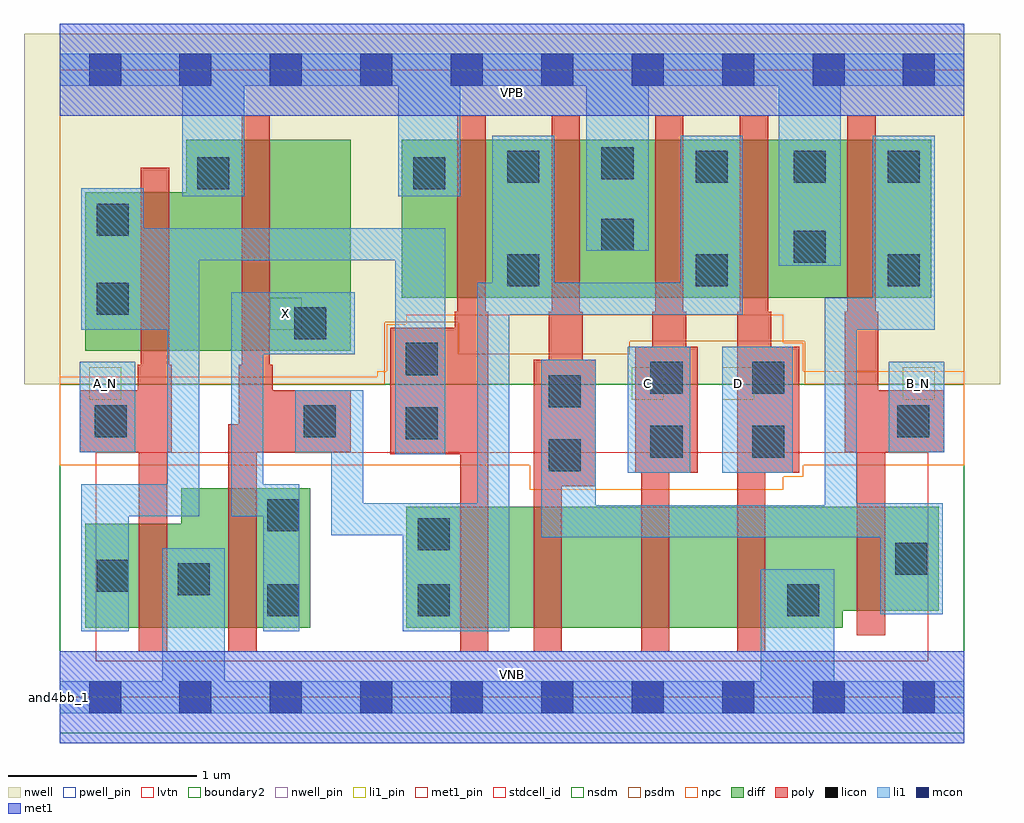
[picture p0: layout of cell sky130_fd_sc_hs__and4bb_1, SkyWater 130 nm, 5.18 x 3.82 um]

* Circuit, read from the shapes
.subckt sky130_fd_sc_hs__and4bb_1 A_N B_N C D VGND VNB VPB VPWR X
XM1 VGND A_N n1 VNB sky130_fd_pr__nfet_01v8_lvt w=0.55 l=0.15
XM2 X n2 VGND VNB sky130_fd_pr__nfet_01v8_lvt w=0.74 l=0.15
XM3 n3 n1 n2 VNB sky130_fd_pr__nfet_01v8_lvt w=0.64 l=0.15
XM4 n4 n5 n3 VNB sky130_fd_pr__nfet_01v8_lvt w=0.64 l=0.15
XM5 n6 C n4 VNB sky130_fd_pr__nfet_01v8_lvt w=0.64 l=0.15
XM6 VGND D n6 VNB sky130_fd_pr__nfet_01v8_lvt w=0.64 l=0.15
XM7 n5 B_N VGND VNB sky130_fd_pr__nfet_01v8_lvt w=0.55 l=0.15
XM8 VPWR A_N n1 VPB sky130_fd_pr__pfet_01v8 w=0.84 l=0.15
XM9 X n2 VPWR VPB sky130_fd_pr__pfet_01v8 w=1.12 l=0.15
XM10 n2 n1 VPWR VPB sky130_fd_pr__pfet_01v8 w=0.84 l=0.15
XM11 VPWR n5 n2 VPB sky130_fd_pr__pfet_01v8 w=0.84 l=0.15
XM12 n2 C VPWR VPB sky130_fd_pr__pfet_01v8 w=0.84 l=0.15
XM13 VPWR D n2 VPB sky130_fd_pr__pfet_01v8 w=0.84 l=0.15
XM14 n5 B_N VPWR VPB sky130_fd_pr__pfet_01v8 w=0.84 l=0.15
.ends

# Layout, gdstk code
import gdstk
lib = gdstk.Library(unit=1e-6, precision=1e-09)
def R(c, l, rs):  # rectangles x0, y0, x1, y1
    for r in rs: c.add(gdstk.rectangle(r[:2], r[2:], *l))
def A(c, l, x, y, w, h, nx, ny, dx, dy):  # array of equal rectangles
    R(c, l, [(x+i*dx, y+j*dy, x+i*dx+w, y+j*dy+h) for i in range(nx) for j in range(ny)])
def P(c, l, *ps):  # polygons
    for p in ps: c.add(gdstk.Polygon(p, *l))
nwell_pin = (64, 16)
nwell = (64, 20)
diff = (65, 20)
poly = (66, 20)
licon = (66, 44)
li1_pin = (67, 16)
li1 = (67, 20)
mcon = (67, 44)
met1_pin = (68, 16)
met1 = (68, 20)
stdcell_id = (81, 4)
nsdm = (93, 44)
psdm = (94, 20)
npc = (95, 20)
pwell_pin = (122, 16)
lvtn = (125, 44)
boundary2 = (236, 0)

sky130_fd_sc_hs__and4bb_ = lib.new_cell('sky130_fd_sc_hs__and4bb_1')
R(sky130_fd_sc_hs__and4bb_, nwell_pin, [(0,3.085,4.8,3.33)])
R(sky130_fd_sc_hs__and4bb_, nwell, [(-0.19,1.66,4.99,3.52)])
R(sky130_fd_sc_hs__and4bb_, diff, [(1.815,2.12,4.625,2.96)])
P(sky130_fd_sc_hs__and4bb_, diff, [(1.33,1.11),(0.645,1.11),(0.645,0.92),(0.135,0.92),(0.135,0.37),(1.33,0.37)],
  [(1.545,2.96),(0.67,2.96),(0.67,2.68),(0.135,2.68),(0.135,1.84),(1.545,1.84)],
  [(4.665,1.01),(1.84,1.01),(1.84,0.37),(4.155,0.37),(4.155,0.46),(4.665,0.46)])
P(sky130_fd_sc_hs__and4bb_, poly, [(4.695,1.63),(4.345,1.63),(4.345,2.045),(4.33,2.045),(4.33,3.09),(4.18,3.09),(4.18,2.045),(4.165,2.045),(4.165,1.3),(4.23,1.3),(4.23,0.33),(4.38,0.33),(4.38,1.3),(4.695,1.3)],
  [(3.925,1.86),(3.775,1.86),(3.775,2.045),(3.76,2.045),(3.76,3.09),(3.61,3.09),(3.61,2.045),(3.595,2.045),(3.595,0.24),(3.745,0.24),(3.745,1.19),(3.925,1.19)],
  [(3.385,1.86),(3.325,1.86),(3.325,2.045),(3.31,2.045),(3.31,3.09),(3.16,3.09),(3.16,2.045),(3.145,2.045),(3.145,1.86),(3.055,1.86),(3.055,1.19),(3.085,1.19),(3.085,0.24),(3.235,0.24),(3.235,1.19),(3.385,1.19)],
  [(2.845,1.79),(2.775,1.79),(2.775,2.045),(2.76,2.045),(2.76,3.09),(2.61,3.09),(2.61,2.045),(2.595,2.045),(2.595,1.79),(2.515,1.79),(2.515,0.24),(2.665,0.24),(2.665,1.12),(2.845,1.12)],
  [(2.275,2.045),(2.26,2.045),(2.26,3.09),(2.11,3.09),(2.11,2.045),(2.095,2.045),(2.095,1.96),(1.755,1.96),(1.755,1.29),(2.125,1.29),(2.125,0.24),(2.275,0.24)],
  [(1.545,1.63),(1.13,1.63),(1.13,1.765),(1.115,1.765),(1.115,3.09),(0.965,3.09),(0.965,1.765),(0.95,1.765),(0.95,1.45),(0.895,1.45),(0.895,0.24),(1.045,0.24),(1.045,1.3),(1.545,1.3)],
  [(0.595,1.765),(0.58,1.765),(0.58,2.81),(0.43,2.81),(0.43,1.765),(0.415,1.765),(0.415,1.63),(0.105,1.63),(0.105,1.3),(0.42,1.3),(0.42,0.24),(0.57,0.24),(0.57,1.3),(0.595,1.3)])
R(sky130_fd_sc_hs__and4bb_, licon, [(1.1,0.43,1.27,0.6), (1.9,0.43,2.07,0.6), (3.86,0.43,4.03,0.6), (0.625,0.54,0.795,0.71), (0.195,0.56,0.365,0.73), (4.435,0.65,4.605,0.82), (1.9,0.78,2.07,0.95), (1.1,0.88,1.27,1.05), (2.595,1.2,2.765,1.37), (3.135,1.27,3.305,1.44), (3.675,1.27,3.845,1.44), (1.835,1.37,2.005,1.54), (0.185,1.38,0.355,1.55), (1.295,1.38,1.465,1.55), (4.445,1.38,4.615,1.55), (2.595,1.54,2.765,1.71), (3.135,1.61,3.305,1.78), (3.675,1.61,3.845,1.78), (1.835,1.71,2.005,1.88), (1.245,1.9,1.415,2.07), (0.195,2.03,0.365,2.2), (2.375,2.18,2.545,2.35), (3.375,2.18,3.545,2.35), (4.395,2.18,4.565,2.35), (3.895,2.305,4.065,2.475), (2.875,2.37,3.045,2.54), (0.195,2.45,0.365,2.62), (0.73,2.695,0.9,2.865), (1.875,2.695,2.045,2.865), (2.375,2.73,2.545,2.9), (3.375,2.73,3.545,2.9), (3.895,2.73,4.065,2.9), (4.395,2.73,4.565,2.9), (2.875,2.75,3.045,2.92)])
R(sky130_fd_sc_hs__and4bb_, li1_pin, [(0.155,1.58,0.325,1.75), (3.035,1.58,3.205,1.75), (3.515,1.58,3.685,1.75), (4.475,1.58,4.645,1.75), (1.115,1.95,1.285,2.12)])
R(sky130_fd_sc_hs__and4bb_, li1, [(3.015,1.19,3.345,1.86), (3.515,1.19,3.89,1.86), (0.105,1.3,0.4,1.78), (4.4,1.3,4.695,1.78)])
P(sky130_fd_sc_hs__and4bb_, li1, [(0,-0.085),(0,0.085),(0.545,0.085),(0.545,0.79),(0.875,0.79),(0.875,0.085),(3.72,0.085),(3.72,0.68),(4.11,0.68),(4.11,0.085),(4.8,0.085),(4.8,-0.085)],
  [(0,3.245),(0,3.415),(4.8,3.415),(4.8,3.245),(4.145,3.245),(4.145,2.29),(3.815,2.29),(3.815,3.245),(3.125,3.245),(3.125,2.37),(2.795,2.37),(2.795,3.245),(2.125,3.245),(2.125,2.66),(1.795,2.66),(1.795,3.245),(0.98,3.245),(0.98,2.66),(0.65,2.66),(0.65,3.245)],
  [(0.91,2.15),(1.565,2.15),(1.565,1.82),(1.08,1.82),(1.08,1.13),(1.27,1.13),(1.27,0.35),(1.08,0.35),(1.08,0.96),(0.91,0.96)],
  [(0.115,1.95),(0.115,2.7),(0.445,2.7),(0.445,2.49),(2.045,2.49),(2.045,1.29),(1.78,1.29),(1.78,2.32),(0.74,2.32),(0.74,0.96),(0.365,0.96),(0.365,0.35),(0.115,0.35),(0.115,1.13),(0.57,1.13),(0.57,1.95)],
  [(1.82,0.35),(1.82,0.86),(1.44,0.86),(1.44,1.3),(1.25,1.3),(1.25,1.63),(1.61,1.63),(1.61,1.03),(2.215,1.03),(2.215,2.2),(2.295,2.2),(2.295,2.98),(2.625,2.98),(2.625,2.2),(3.295,2.2),(3.295,2.98),(3.625,2.98),(3.625,2.03),(2.385,2.03),(2.385,0.35)],
  [(4.06,1.02),(4.06,2.12),(4.315,2.12),(4.315,2.98),(4.645,2.98),(4.645,1.95),(4.23,1.95),(4.23,1.03),(4.685,1.03),(4.685,0.44),(4.355,0.44),(4.355,0.85),(2.555,0.85),(2.555,1.79),(2.845,1.79),(2.845,1.02)])
A(sky130_fd_sc_hs__and4bb_, mcon, 0.155, -0.085, 0.17, 0.17, 10, 2, 0.48, 3.33)
R(sky130_fd_sc_hs__and4bb_, met1_pin, [(0,0,4.8,0.245), (0,3.085,4.8,3.33)])
R(sky130_fd_sc_hs__and4bb_, met1, [(0,-0.245,4.8,0.245), (0,3.085,4.8,3.575)])
R(sky130_fd_sc_hs__and4bb_, stdcell_id, [(0,0,4.8,3.33)])
R(sky130_fd_sc_hs__and4bb_, nsdm, [(0,-0.19,4.8,1.66)])
P(sky130_fd_sc_hs__and4bb_, psdm, [(4.8,3.52),(0,3.52),(0,1.66),(1.725,1.66),(1.725,1.99),(2.115,1.99),(2.115,1.82),(3.025,1.82),(3.025,1.89),(3.955,1.89),(3.955,1.66),(4.8,1.66)])
P(sky130_fd_sc_hs__and4bb_, npc, [(4.8,1.73),(3.945,1.73),(3.945,1.88),(3.84,1.88),(3.84,2.03),(1.84,2.03),(1.84,1.98),(1.735,1.98),(1.735,1.73),(1.685,1.73),(1.685,1.7),(0,1.7),(0,1.23),(2.495,1.23),(2.495,1.1),(3.84,1.1),(3.84,1.17),(3.945,1.17),(3.945,1.23),(4.8,1.23)])
R(sky130_fd_sc_hs__and4bb_, pwell_pin, [(0,0,4.8,0.245)])
R(sky130_fd_sc_hs__and4bb_, lvtn, [(0.19,0.19,4.61,1.3)])
R(sky130_fd_sc_hs__and4bb_, boundary2, [(0,0,4.8,3.33)])
sky130_fd_sc_hs__and4bb_.add(gdstk.Label('and4bb_1', (0,0), layer=83, texttype=44))
sky130_fd_sc_hs__and4bb_.add(gdstk.Label('VNB', (2.4,0.123), layer=64, texttype=59))
sky130_fd_sc_hs__and4bb_.add(gdstk.Label('VPB', (2.4,3.208), layer=64, texttype=5))
sky130_fd_sc_hs__and4bb_.add(gdstk.Label('VPWR', (2.4,3.208), layer=68, texttype=5))
sky130_fd_sc_hs__and4bb_.add(gdstk.Label('VGND', (2.4,0.123), layer=68, texttype=5))
sky130_fd_sc_hs__and4bb_.add(gdstk.Label('D', (3.6,1.665), layer=67, texttype=5))
sky130_fd_sc_hs__and4bb_.add(gdstk.Label('B_N', (4.56,1.665), layer=67, texttype=5))
sky130_fd_sc_hs__and4bb_.add(gdstk.Label('X', (1.2,2.035), layer=67, texttype=5))
sky130_fd_sc_hs__and4bb_.add(gdstk.Label('C', (3.12,1.665), layer=67, texttype=5))
sky130_fd_sc_hs__and4bb_.add(gdstk.Label('A_N', (0.24,1.665), layer=67, texttype=5))

lib.write_gds('sky130_fd_sc_hs__and4bb_1.gds')
